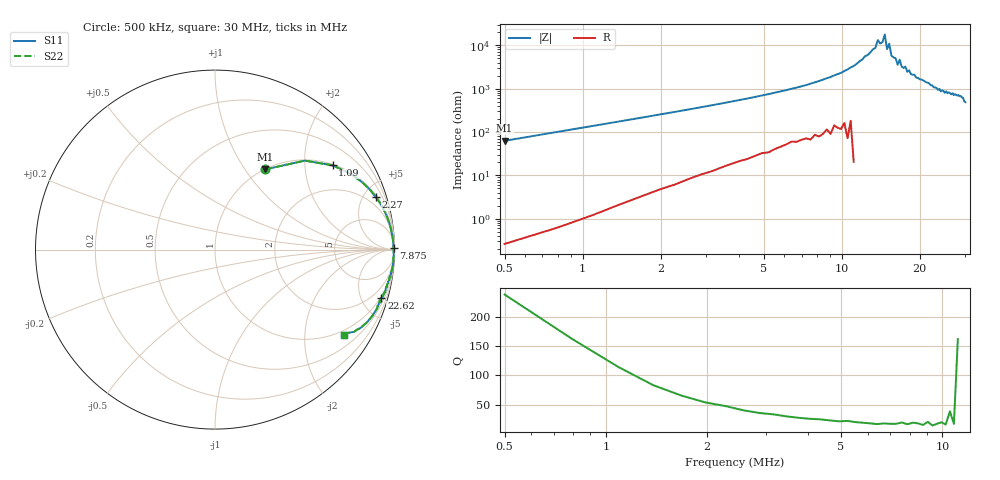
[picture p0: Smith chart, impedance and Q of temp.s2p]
!Created with skrf (http://scikit-rf.org).
# Hz S MA R 50.0
!freq magS11 angS11 magS21 angS21 magS12 angS12 magS22 angS22
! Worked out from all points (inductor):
!   101 points, 500 kHz to 30 MHz, reference 50 ohm
!   read as one part in series: L = 20 uH near 500 kHz
!   highest Q = 238 at 500 kHz (marker M1), where L = 19.9 uH
!   self-resonance near 14.37 MHz
!   S11 on the Smith chart (normalised r, x): 500 kHz: 1.01, +1.25; 1.09 MHz: 1.03, +2.77; 2.27 MHz: 1.15, +6.11; 7.875 MHz: open; 22.62 MHz: 0.87, -6.94; 30 MHz: 0.85, -3.13
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500000  0.5283 57.8  0.844 -32.1  0.844 -32.1  0.5283 57.8
1090000  0.8061 35.6  0.5868 -53.8  0.5868 -53.8  0.8061 35.6
2270000  0.9436 18.0  0.3248 -70.7  0.3248 -70.7  0.9436 18.0
5515000  0.9906 4.6  0.1228 -82.5  0.1228 -82.5  0.9906 4.6
7875000  0.9952 0.5  0.07122 -86.0  0.07122 -86.0  0.9952 0.5
1.053e7  0.9958 -3.0  0.0359 -91.5  0.0359 -91.5  0.9958 -3.0
1.348e7  0.9932 -6.3  0.01138 -132.2  0.01138 -132.2  0.9932 -6.3
1.3775e7  0.9931 -6.6  0.007494 -130.1  0.007494 -130.1  0.9931 -6.6
1.4365e7  0.9913 -7.3  0.008306 177.7  0.008306 177.7  0.9913 -7.3
1.466e7  0.989 -7.5  0.005548 166.4  0.005548 166.4  0.989 -7.5
1.4955e7  0.9898 -7.9  0.01215 157.5  0.01215 157.5  0.9898 -7.9
1.525e7  0.989 -8.2  0.008989 144.0  0.008989 144.0  0.989 -8.2
1.5545e7  0.9864 -8.5  0.01696 142.1  0.01696 142.1  0.9864 -8.5
1.643e7  0.9856 -9.5  0.02747 124.0  0.02747 124.0  0.9856 -9.5
1.6725e7  0.9858 -9.9  0.02101 126.4  0.02101 126.4  0.9858 -9.9
1.702e7  0.9836 -9.8  0.03017 118.8  0.03017 118.8  0.9836 -9.8
1.761e7  0.9812 -10.8  0.03018 126.8  0.03018 126.8  0.9812 -10.8
1.7905e7  0.9819 -10.7  0.03996 113.7  0.03996 113.7  0.9819 -10.7
2.0265e7  0.9781 -13.3  0.05936 106.4  0.05936 106.4  0.9781 -13.3
2.2625e7  0.9657 -16.2  0.08789 109.7  0.08789 109.7  0.9657 -16.2
2.528e7  0.9618 -20.1  0.1077 99.2  0.1077 99.2  0.9618 -20.1
3e7  0.8619 -33.3  0.1629 130.6  0.1629 130.6  0.8619 -33.3
